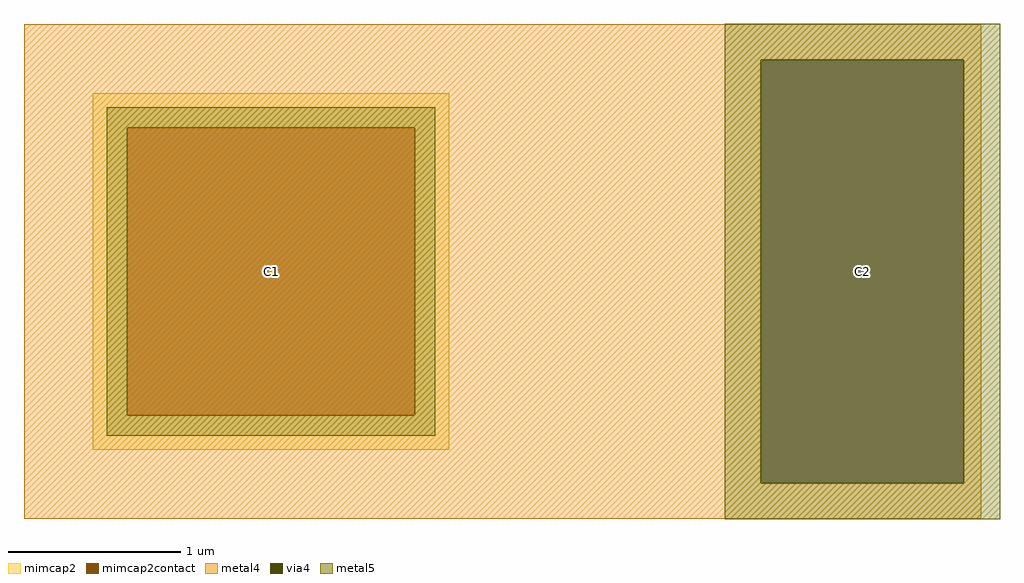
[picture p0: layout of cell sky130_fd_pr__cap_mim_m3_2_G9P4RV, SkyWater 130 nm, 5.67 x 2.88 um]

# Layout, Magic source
magic
tech sky130A
magscale 1 2
<< metal4 >>
rect -556 246 556 287
rect -556 -246 300 246
rect 536 -246 556 246
rect -556 -287 556 -246
<< via4 >>
rect 300 -246 536 246
<< mimcap2 >>
rect -476 167 -62 207
rect -476 -167 -436 167
rect -102 -167 -62 167
rect -476 -207 -62 -167
<< mimcap2contact >>
rect -436 -167 -102 167
<< metal5 >>
rect 258 246 578 288
rect -460 167 -78 191
rect -460 -167 -436 167
rect -102 -167 -78 167
rect -460 -191 -78 -167
rect 258 -246 300 246
rect 536 -246 578 246
rect 258 -288 578 -246
<< labels >>
rlabel via4 418 0 418 0 0 C2
port 1 nsew
rlabel mimcap2contact -269 0 -269 0 0 C1
port 2 nsew
<< properties >>
string FIXED_BBOX -556 -287 18 287
string gencell sky130_fd_pr__cap_mim_m3_2
string library sky130
string parameters w 2.065 l 2.065 val 10.1 carea 2.00 cperi 0.19 class capacitor nx 1 ny 1 dummy 0 square 1 lmin 2.00 wmin 2.00 lmax 30.0 wmax 30.0 dc 0 bconnect 1 tconnect 1 ccov 100 doports 1
<< end >>
